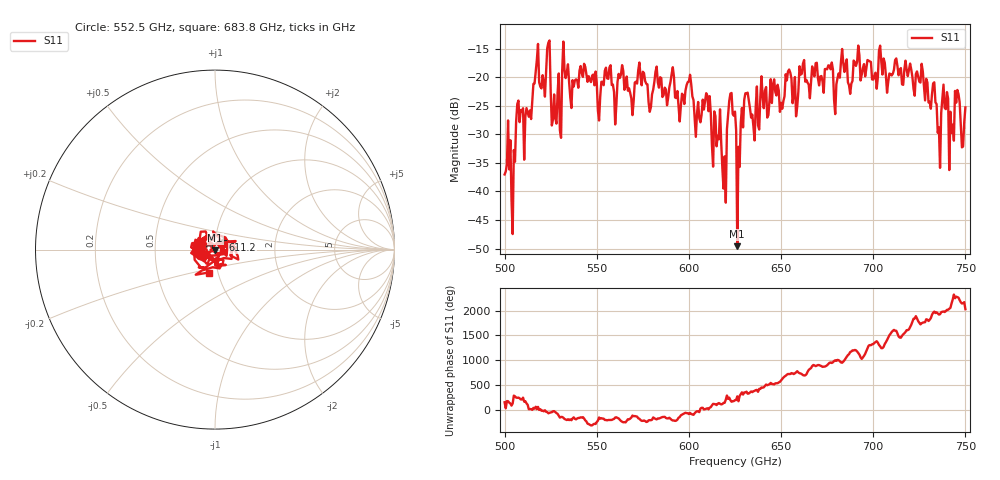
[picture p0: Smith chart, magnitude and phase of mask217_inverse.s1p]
!Created with skrf (http://scikit-rf.org).
# GHz S MA R 50.0
!freq magS11 angS11
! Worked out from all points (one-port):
!   401 points, 500 GHz to 750 GHz, reference 50 ohm
!   lowest |S11| = -49.6 dB at 626.2 GHz (marker M1), VSWR 1.01, Z = 50 - j0.329 ohm
!   |S11| at or under -10 dB: start of sweep to end of sweep
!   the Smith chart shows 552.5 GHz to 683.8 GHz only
!   S11 on the Smith chart (normalised r, x): 552.5 GHz: 0.84, -0.05; 611.2 GHz: 1.09, +0.11; 683.8 GHz: 0.90, -0.23
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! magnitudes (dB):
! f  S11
! 500 GHz  -37.0
! 505 GHz  -32.8
! 507.5 GHz  -24.1
! 511.9 GHz  -25.4
! 516.9 GHz  -19.1
! 523.8 GHz  -14.0
! 526.9 GHz  -23.0
! 531.2 GHz  -18.8
! 552.5 GHz  -20.8
! 562.5 GHz  -20.2
! 593.8 GHz  -22.4
! 611.2 GHz  -23.3
! 618.8 GHz  -39.5
! 622.5 GHz  -22.9
! 625 GHz  -26.0
! 626.2 GHz  -49.6
! 631.2 GHz  -22.8
! 634.4 GHz  -26.5
! 656.2 GHz  -24.6
! 683.8 GHz  -17.6
! 687.5 GHz  -22.9
! 718.8 GHz  -19.8
! 733.1 GHz  -20.9
! 735.6 GHz  -28.8
! 738.8 GHz  -25.4
! 742.5 GHz  -29.7
! 745.6 GHz  -22.2
! 750 GHz  -25.3
